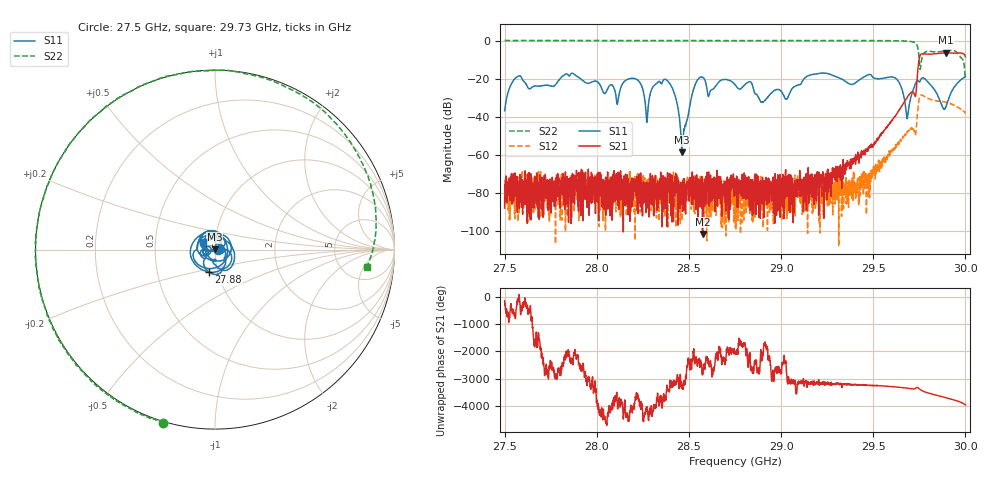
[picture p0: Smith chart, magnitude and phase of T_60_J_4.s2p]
!Keysight Technologies,N5234A,MY55441357,A.10.47.05
!Date: Sunday, November 19, 2017 17:34:38
!Correction: S11(Full 2 Port(1,2))
!S21(Full 2 Port(1,2))
!S12(Full 2 Port(1,2))
!S22(Full 2 Port(1,2))
!S2P File: Measurements: S11, S21, S12, S22:
# Hz S  dB  R 50
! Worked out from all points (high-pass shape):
!   2501 points, 27.5 GHz to 30 GHz, reference 50 ohm
!   highest |S21| = -6.41 dB at 29.9 GHz (marker M1); lowest = -101.8 dB at 28.57 GHz (marker M2)
!   |S21| within 3 dB of the highest: 29.75 GHz to end of sweep
!   lowest |S11| = -58.7 dB at 28.46 GHz (marker M3), VSWR 1.00, Z = 49.9 + j0.0958 ohm
!   |S11| at or under -10 dB: start of sweep to end of sweep
!   |S22| runs from -19.6 to 0.1 dB; largest |S21 - S12| = 0.5
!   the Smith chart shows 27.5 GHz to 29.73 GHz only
!   S11 on the Smith chart (normalised r, x): 27.5 GHz: 1.03, -0.00; 27.88 GHz: 0.91, -0.23; 29.73 GHz: 0.87, +0.07
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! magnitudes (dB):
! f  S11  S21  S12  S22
! 27.5 GHz  -36.9  -88.1  -84.8  0.1
! 27.57 GHz  -18.8  -76.7  -75.8  0.1
! 27.88 GHz  -17.7  -72.8  -90.3  0.1
! 27.92 GHz  -20.4  -67.7  -76.2  0.0
! 28.11 GHz  -33.4  -83.7  -79.1  0.0
! 28.21 GHz  -20.1  -79.6  -82.4  0.0
! 28.27 GHz  -43.0  -76.9  -82.2  0.0
! 28.33 GHz  -21.7  -78.7  -81.1  0.0
! 28.41 GHz  -25.1  -74.6  -82.8  0.0
! 28.46 GHz  -58.7  -80.5  -82.3  0.0
! 28.53 GHz  -24.1  -82.3  -87.6  0.0
! 28.57 GHz  -19.3  -101.8  -74.4  0.0
! 28.75 GHz  -23.2  -73.1  -77.2  0.0
! 28.9 GHz  -32.3  -71.9  -76.8  0.0
! 29.17 GHz  -17.9  -70.1  -82.7  0.0
! 29.41 GHz  -21.5  -61.4  -79.7  0.0
! 29.58 GHz  -19.2  -44.2  -60.5  0.0
! 29.68 GHz  -40.7  -29.7  -48.1  -0.3
! 29.73 GHz  -22.1  -28.5  -48.8  -1.4
! 29.76 GHz  -19.9  -7.0  -28.6  -10.4
! 29.9 GHz  -34.4  -6.4  -32.4  -5.5
! 30 GHz  -19.0  -8.5  -38.5  -18.9
